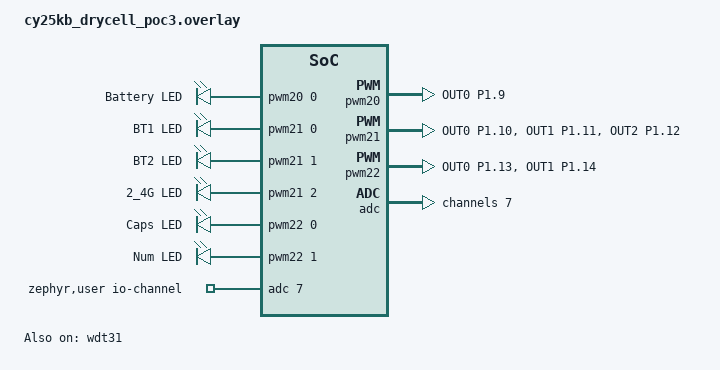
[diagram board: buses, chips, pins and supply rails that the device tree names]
/*
 * Copyright (c) 2024 Nordic Semiconductor ASA
 *
 * SPDX-License-Identifier: LicenseRef-Nordic-5-Clause
 */

/* For nRF54L, watchdog status is disabled by default. Needs to be enabled in DTS overlay. */
&wdt31 {
	status = "okay";
};

/* Application does not use cpuflpr core. Assign whole RRAM to cpuapp. */
&cpuapp_rram {
	reg = < 0x0 DT_SIZE_K(1524) >;
};

/ {
	/delete-node/ pwmleds;
    /delete-node/ aliases;
    /delete-node/ buttons;
    /delete-node/ leds;

	pwmleds0 {
		compatible = "pwm-leds";
		status = "okay";
		pwm_led0: led_pwm_0 {
			pwms = <&pwm20 0 PWM_MSEC(1) PWM_POLARITY_INVERTED>;
			status = "okay";
			label = "Battery LED";
		};
	};

	pwmleds1 {
		compatible = "pwm-leds";
		status = "okay";
		pwm_led1: led_pwm_1 {
			pwms = <&pwm21 0 PWM_MSEC(1) PWM_POLARITY_INVERTED>;
			status = "okay";
			label = "BT1 LED";
		};
	};

	pwmleds2 {
		compatible = "pwm-leds";
		status = "okay";
		pwm_led2: led_pwm_2 {
			pwms = <&pwm21 1 PWM_MSEC(1) PWM_POLARITY_INVERTED>;
			status = "okay";
			label = "BT2 LED";
		};
	};

	pwmleds3 {
		compatible = "pwm-leds";
		status = "okay";
		pwm_led3: led_pwm_3 {
			pwms = <&pwm21 2 PWM_MSEC(1) PWM_POLARITY_INVERTED>;
			status = "okay";
			label = "2_4G LED";
		};
	};

	pwmleds4 {
		compatible = "pwm-leds";
		status = "okay";
		pwm_led4: led_pwm_4 {
			pwms = <&pwm22 0 PWM_MSEC(1) PWM_POLARITY_INVERTED>;
			status = "okay";
			label = "Caps LED";
		};
	};

	pwmleds5 {
		compatible = "pwm-leds";
		status = "okay";
		pwm_led5: led_pwm_5 {
			pwms = <&pwm22 1 PWM_MSEC(1) PWM_POLARITY_INVERTED>;
			status = "okay";
			label = "Num LED";
		};
	};
};

&uicr {
    nfct-pins-as-gpios;
};

&uart20 {
    status = "disabled";
};

&spi00 {
    status = "disabled";
};

/ {
	zephyr,user {
		io-channels = <&adc 7>;
	};
};

&pwm20 {
	status = "okay";
	pinctrl-0 = <&pwm20_default_alt>;
	pinctrl-1 = <&pwm20_sleep_alt>;
	pinctrl-names = "default", "sleep";
};

&pwm21 {
	status = "okay";
	pinctrl-0 = <&pwm21_default_alt>;
	pinctrl-1 = <&pwm21_sleep_alt>;
	pinctrl-names = "default", "sleep";
};

&pwm22 {
	status = "okay";
	pinctrl-0 = <&pwm22_default_alt>;
	pinctrl-1 = <&pwm22_sleep_alt>;
	pinctrl-names = "default", "sleep";
};

&pinctrl {
	pwm20_default_alt: pwm20_default_alt {
		group1 {
			psels = <NRF_PSEL(PWM_OUT0, 1, 9)>;
		};
	};

	pwm20_sleep_alt: pwm20_sleep_alt {
		group1 {
			psels = <NRF_PSEL(PWM_OUT0, 1, 9)>;
			low-power-enable;
		};
	};

	pwm21_default_alt: pwm21_default_alt {
		group1 {
			psels = <NRF_PSEL(PWM_OUT0, 1, 10)>,
					<NRF_PSEL(PWM_OUT1, 1, 11)>,
					<NRF_PSEL(PWM_OUT2, 1, 12)>;
		};
	};

	pwm21_sleep_alt: pwm21_sleep_alt {
		group1 {
			psels = <NRF_PSEL(PWM_OUT0, 1, 10)>,
					<NRF_PSEL(PWM_OUT1, 1, 11)>,
					<NRF_PSEL(PWM_OUT2, 1, 12)>;
			low-power-enable;
		};
	};

	pwm22_default_alt: pwm22_default_alt {
		group1 {
			psels = <NRF_PSEL(PWM_OUT0, 1, 13)>,
					<NRF_PSEL(PWM_OUT1, 1, 14)>;
		};
	};

	pwm22_sleep_alt: pwm22_sleep_alt {
		group1 {
			psels = <NRF_PSEL(PWM_OUT0, 1, 13)>,
					<NRF_PSEL(PWM_OUT1, 1, 14)>;
			low-power-enable;
		};
	};
};

&adc {
	#address-cells = <1>;
	#size-cells = <0>;

	channel@7 {
		reg = <7>;
		zephyr,gain = "ADC_GAIN_1_4";
		zephyr,reference = "ADC_REF_INTERNAL";
		zephyr,acquisition-time = <ADC_ACQ_TIME_DEFAULT>;
		zephyr,input-positive = <NRF_SAADC_VDD>;
		zephyr,resolution = <12>;
	};
};

&hfxo {
	load-capacitors = "internal";
//	load-capacitance-femtofarad = <8000>;
	load-capacitance-femtofarad = <12000>;
//	load-capacitance-femtofarad = <14000>;
//	load-capacitance-femtofarad = <15000>;
//	load-capacitance-femtofarad = <16000>;

};

/delete-node/ &lfxo;
